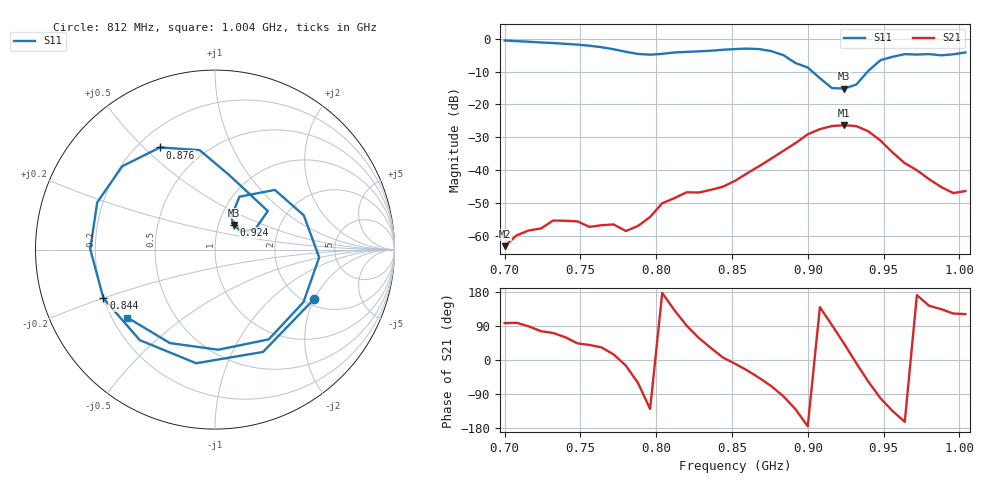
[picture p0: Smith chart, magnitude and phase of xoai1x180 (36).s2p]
# Hz S RI R 50
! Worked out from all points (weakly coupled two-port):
!   39 points, 700 MHz to 1.004 GHz, reference 50 ohm
!   highest |S21| = -26.36 dB at 924 MHz (marker M1); lowest = -63.2 dB at 700 MHz (marker M2)
!   lowest |S11| = -15.2 dB at 924 MHz (marker M3), VSWR 1.42, Z = 59.4 + j16.8 ohm
!   |S11| at or under -10 dB: 903 MHz to 939.6 MHz (36.57 MHz wide, 3.97 % of centre)
!   S12 and S22 are empty: the file has one direction only
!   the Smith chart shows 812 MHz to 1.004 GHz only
!   S11 on the Smith chart (normalised r, x): 812 MHz: 2.22, -1.99; 844 MHz: 0.20, -0.20; 876 MHz: 0.29, +0.56; 924 MHz: 1.19, +0.34; 1.004 GHz: 0.26, -0.32
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7e8  0.7588 0.5556  -8.87e-05 0.000684  0 0  0 0
7.24e8  0.8402 -0.2473  0.000311 0.00124  0 0  0 0
7.4e8  0.4565 -0.7003  0.000837 0.00146  0 0  0 0
7.56e8  -0.193 -0.7568  0.00105 0.000866  0 0  0 0
7.72e8  -0.6612 -0.1981  0.00143 0.00037  0 0  0 0
7.8e8  -0.5908 0.2231  0.00114 -0.000299  0 0  0 0
7.88e8  -0.2455 0.5314  0.000691 -0.00122  0 0  0 0
7.96e8  0.2378 0.5186  -0.00122 -0.00149  0 0  0 0
8.04e8  0.563 0.1709  -0.00311 0.000165  0 0  0 0
8.12e8  0.5504 -0.2771  -0.00246 0.00278  0 0  0 0
8.28e8  -0.1048 -0.6331  0.00236 0.00387  0 0  0 0
8.44e8  -0.6219 -0.2704  0.00551 0.000635  0 0  0 0
8.52e8  -0.6952 0.00294  0.00673 -0.00116  0 0  0 0
8.76e8  -0.3069 0.5693  0.00534 -0.014  0 0  0 0
9e8  0.2941 0.2148  -0.0348 -0.00307  0 0  0 0
9.08e8  0.2234 0.1129  -0.0318 0.0273  0 0  0 0
9.24e8  0.1069 0.1372  0.0354 0.0326  0 0  0 0
9.4e8  0.1356 0.2946  0.021 -0.0326  0 0  0 0
9.56e8  0.4948 0.191  -0.013 -0.0131  0 0  0 0
9.64e8  0.5803 -0.0436  -0.0122 -0.00365  0 0  0 0
9.8e8  0.2997 -0.5  -0.0058 0.00435  0 0  0 0
1.004e9  -0.488 -0.3789  -0.00247 0.00408  0 0  0 0
